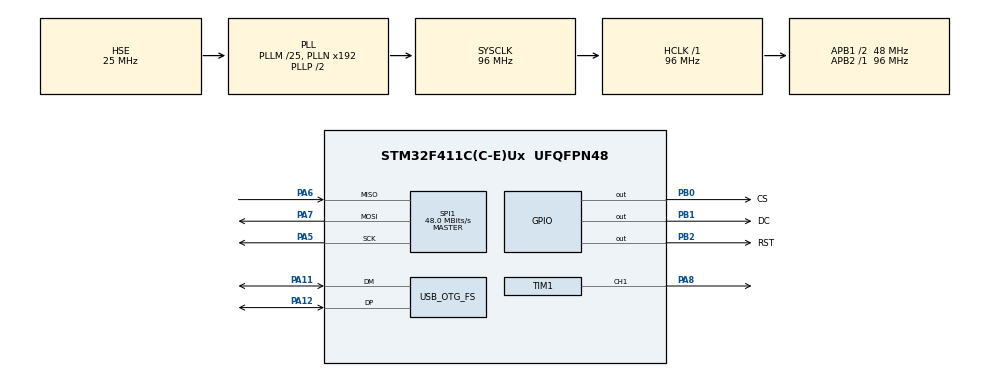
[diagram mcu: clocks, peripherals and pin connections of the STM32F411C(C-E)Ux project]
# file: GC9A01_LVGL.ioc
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FREERTOS.Tasks01=defaultTask,0,128,StartDefaultTask,Default,NULL,Dynamic,NULL,NULL
Mcu.Family=STM32F4
Mcu.Name=STM32F411C(C-E)Ux
Mcu.Package=UFQFPN48
NVIC.OTG_FS_IRQn=true\:5\:0\:false\:false\:true\:true\:false\:true\:true
NVIC.PriorityGroup=NVIC_PRIORITYGROUP_4
NVIC.TIM2_IRQn=true\:15\:0\:false\:false\:true\:false\:false\:true\:true
NVIC.TimeBase=TIM2_IRQn
NVIC.TimeBaseIP=TIM2
PA11.Mode=Device_Only
PA11.Signal=USB_OTG_FS_DM
PA12.Mode=Device_Only
PA12.Signal=USB_OTG_FS_DP
PA5.Mode=Full_Duplex_Master
PA5.Signal=SPI1_SCK
PA6.Mode=Full_Duplex_Master
PA6.Signal=SPI1_MISO
PA7.Mode=Full_Duplex_Master
PA7.Signal=SPI1_MOSI
PA8.Signal=S_TIM1_CH1
PB0.GPIO_Label=CS
PB0.PinState=GPIO_PIN_SET
PB0.Signal=GPIO_Output
PB1.GPIO_Label=DC
PB1.PinState=GPIO_PIN_SET
PB1.Signal=GPIO_Output
PB2.GPIO_Label=RST
PB2.PinState=GPIO_PIN_SET
PB2.Signal=GPIO_Output
PC14-OSC32_IN.Mode=LSE-External-Oscillator
PC14-OSC32_IN.Signal=RCC_OSC32_IN
PC15-OSC32_OUT.Mode=LSE-External-Oscillator
PC15-OSC32_OUT.Signal=RCC_OSC32_OUT
PH0\ -\ OSC_IN.Mode=HSE-External-Oscillator
PH0\ -\ OSC_IN.Signal=RCC_OSC_IN
PH1\ -\ OSC_OUT.Mode=HSE-External-Oscillator
PH1\ -\ OSC_OUT.Signal=RCC_OSC_OUT
ProjectManager.HeapSize=0x200
ProjectManager.StackSize=0x400
ProjectManager.TargetToolchain=Makefile
RCC.48MHZClocksFreq_Value=48000000
RCC.AHBFreq_Value=96000000
RCC.APB1CLKDivider=RCC_HCLK_DIV2
RCC.APB1Freq_Value=48000000
RCC.APB1TimFreq_Value=96000000
RCC.APB2Freq_Value=96000000
RCC.APB2TimFreq_Value=96000000
RCC.CortexFreq_Value=96000000
RCC.HCLKFreq_Value=96000000
RCC.HSE_VALUE=25000000
RCC.HSI_VALUE=16000000
RCC.PLLM=25
RCC.SYSCLKFreq_VALUE=96000000
RCC.SYSCLKSource=RCC_SYSCLKSOURCE_PLLCLK
RCC.VCOOutputFreq_Value=192000000
SH.S_TIM1_CH1.0=TIM1_CH1,PWM Generation1 CH1
SPI1.BaudRatePrescaler=SPI_BAUDRATEPRESCALER_2
SPI1.CalculateBaudRate=48.0 MBits/s
SPI1.Direction=SPI_DIRECTION_2LINES
SPI1.Mode=SPI_MODE_MASTER
SPI1.VirtualType=VM_MASTER
TIM1.AutoReloadPreload=TIM_AUTORELOAD_PRELOAD_ENABLE
TIM1.Channel-PWM\ Generation1\ CH1=TIM_CHANNEL_1
TIM1.Period=1000-1
USB_DEVICE.CLASS_NAME_FS=CDC
USB_DEVICE.VirtualMode=Cdc
USB_DEVICE.VirtualModeFS=Cdc_FS
USB_OTG_FS.VirtualMode=Device_Only
VP_FREERTOS_VS_CMSIS_V1.Mode=CMSIS_V1
VP_SYS_VS_tim2.Mode=TIM2
VP_USB_DEVICE_VS_USB_DEVICE_CDC_FS.Mode=CDC_FS
board=custom

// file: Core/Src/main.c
/* USER CODE BEGIN Header */
/**
  ******************************************************************************
  * @file           : main.c
  * @brief          : Main program body
  ******************************************************************************
  * @attention
  *
  * Copyright (c) 2025 STMicroelectronics.
  * All rights reserved.
  *
  * This software is licensed under terms that can be found in the LICENSE file
  * in the root directory of this software component.
  * If no LICENSE file comes with this software, it is provided AS-IS.
  *
  ******************************************************************************
  */
/* USER CODE END Header */
#include "main.h"
#include "cmsis_os.h"
#include "spi.h"
#include "tim.h"
#include "usb_device.h"
#include "gpio.h"

void SystemClock_Config(void);
void MX_FREERTOS_Init(void);

int main(void)
{

  /* MCU Configuration--------------------------------------------------------*/

  /* Reset of all peripherals, Initializes the Flash interface and the Systick. */
  HAL_Init();

  /* Configure the system clock */
  SystemClock_Config();

  /* Initialize all configured peripherals */
  MX_GPIO_Init();
  MX_SPI1_Init();
  MX_TIM1_Init();

  /* Call init function for freertos objects (in cmsis_os2.c) */
  MX_FREERTOS_Init();

  /* Start scheduler */
  osKernelStart();

  /* We should never get here as control is now taken by the scheduler */

  /* Infinite loop */
  while (1)
  {

  }
}

void SystemClock_Config(void)
{
  RCC_OscInitTypeDef RCC_OscInitStruct = {0};
  RCC_ClkInitTypeDef RCC_ClkInitStruct = {0};

  /** Configure the main internal regulator output voltage
  */
  __HAL_RCC_PWR_CLK_ENABLE();
  __HAL_PWR_VOLTAGESCALING_CONFIG(PWR_REGULATOR_VOLTAGE_SCALE1);

  /** Initializes the RCC Oscillators according to the specified parameters
  * in the RCC_OscInitTypeDef structure.
  */
  RCC_OscInitStruct.OscillatorType = RCC_OSCILLATORTYPE_HSE;
  RCC_OscInitStruct.HSEState = RCC_HSE_ON;
  RCC_OscInitStruct.PLL.PLLState = RCC_PLL_ON;
  RCC_OscInitStruct.PLL.PLLSource = RCC_PLLSOURCE_HSE;
  RCC_OscInitStruct.PLL.PLLM = 25;
  RCC_OscInitStruct.PLL.PLLN = 192;
  RCC_OscInitStruct.PLL.PLLP = RCC_PLLP_DIV2;
  RCC_OscInitStruct.PLL.PLLQ = 4;
  if (HAL_RCC_OscConfig(&RCC_OscInitStruct) != HAL_OK)
  {
    Error_Handler();
  }

  /** Initializes the CPU, AHB and APB buses clocks
  */
  RCC_ClkInitStruct.ClockType = RCC_CLOCKTYPE_HCLK|RCC_CLOCKTYPE_SYSCLK
                              |RCC_CLOCKTYPE_PCLK1|RCC_CLOCKTYPE_PCLK2;
  RCC_ClkInitStruct.SYSCLKSource = RCC_SYSCLKSOURCE_PLLCLK;
  RCC_ClkInitStruct.AHBCLKDivider = RCC_SYSCLK_DIV1;
  RCC_ClkInitStruct.APB1CLKDivider = RCC_HCLK_DIV2;
  RCC_ClkInitStruct.APB2CLKDivider = RCC_HCLK_DIV1;

  if (HAL_RCC_ClockConfig(&RCC_ClkInitStruct, FLASH_LATENCY_3) != HAL_OK)
  {
    Error_Handler();
  }
}

void HAL_TIM_PeriodElapsedCallback(TIM_HandleTypeDef *htim)
{
  if (htim->Instance == TIM2) {
    HAL_IncTick();
  }
}

void Error_Handler(void)
{
  __disable_irq();
  while (1)
  {
  }
}

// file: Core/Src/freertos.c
/* USER CODE BEGIN Header */
/**
  ******************************************************************************
  * File Name          : freertos.c
  * Description        : Code for freertos applications
  ******************************************************************************
  * @attention
  *
  * Copyright (c) 2025 STMicroelectronics.
  * All rights reserved.
  *
  * This software is licensed under terms that can be found in the LICENSE file
  * in the root directory of this software component.
  * If no LICENSE file comes with this software, it is provided AS-IS.
  *
  ******************************************************************************
  */
/* USER CODE END Header */

#include "FreeRTOS.h"
#include "task.h"
#include "main.h"
#include "cmsis_os.h"

/* USER CODE BEGIN Includes */
#include <stdio.h>
#include "lvgl.h"
#include "GC9A01.h"

/* USER CODE END Includes */

/* USER CODE BEGIN Variables */
osThreadId tickTaskHandle;
/* Declare buffer for 1/10 screen size; BYTES_PER_PIXEL will be 2 for RGB565. */
#define BYTES_PER_PIXEL (LV_COLOR_FORMAT_GET_SIZE(LV_COLOR_FORMAT_RGB565))
static uint8_t buf1[240 * 240 / 10 * BYTES_PER_PIXEL];
/* USER CODE END Variables */
osThreadId defaultTaskHandle;

/* USER CODE BEGIN FunctionPrototypes */
void StartTickTask(void const * argument);
/* USER CODE END FunctionPrototypes */

void StartDefaultTask(void const * argument);

extern void MX_USB_DEVICE_Init(void);
void MX_FREERTOS_Init(void); /* (MISRA C 2004 rule 8.1) */

/* GetIdleTaskMemory prototype (linked to static allocation support) */
void vApplicationGetIdleTaskMemory( StaticTask_t **ppxIdleTaskTCBBuffer, StackType_t **ppxIdleTaskStackBuffer, uint32_t *pulIdleTaskStackSize );

/* USER CODE BEGIN GET_IDLE_TASK_MEMORY */
static StaticTask_t xIdleTaskTCBBuffer;
static StackType_t xIdleStack[configMINIMAL_STACK_SIZE];

void vApplicationGetIdleTaskMemory( StaticTask_t **ppxIdleTaskTCBBuffer, StackType_t **ppxIdleTaskStackBuffer, uint32_t *pulIdleTaskStackSize )
{
  *ppxIdleTaskTCBBuffer = &xIdleTaskTCBBuffer;
  *ppxIdleTaskStackBuffer = &xIdleStack[0];
  *pulIdleTaskStackSize = configMINIMAL_STACK_SIZE;
  /* place for user code */
}
/* USER CODE END GET_IDLE_TASK_MEMORY */

void MX_FREERTOS_Init(void) {

  /* Create the thread(s) */
  /* definition and creation of defaultTask */
  osThreadDef(defaultTask, StartDefaultTask, osPriorityNormal, 0, 128);
  defaultTaskHandle = osThreadCreate(osThread(defaultTask), NULL);

  /* USER CODE BEGIN RTOS_THREADS */
  /* add threads, ... */
  osThreadDef(tickTask, StartTickTask, osPriorityNormal, 0, 1024);
  tickTaskHandle = osThreadCreate(osThread(tickTask), NULL);
  /* USER CODE END RTOS_THREADS */

}

void StartDefaultTask(void const * argument)
{
  /* init code for USB_DEVICE */
  MX_USB_DEVICE_Init();
  /* USER CODE BEGIN StartDefaultTask */

  /* Infinite loop */
  for(;;)
  {
    lv_tick_inc(1);
    osDelay(1);
  }
  /* USER CODE END StartDefaultTask */
}

/* USER CODE BEGIN Application */
void StartTickTask(void const * argument)
{
  /* USER CODE BEGIN StartDefaultTask */
  GC9A01_init();
  lv_init();

  lv_display_t * display1 = lv_display_create(240, 240);
  /* Set display buffer for display `display1`. */
  lv_display_set_buffers(display1, buf1, NULL, sizeof(buf1), LV_DISPLAY_RENDER_MODE_PARTIAL);
  lv_display_set_flush_cb(display1, GC9A01_flush);

  /*Change the active screen's background color*/
  lv_obj_set_style_bg_color(lv_screen_active(), lv_color_white(), LV_PART_MAIN);

  lv_obj_t * preload = lv_spinner_create(lv_scr_act());
  lv_obj_set_size(preload, 100, 100);
  lv_obj_align(preload, LV_ALIGN_CENTER, 0, 0);

  /* Infinite loop */
  for(;;)
  {
    lv_task_handler();
  }
  /* USER CODE END StartDefaultTask */
}

/* USER CODE END Application */
